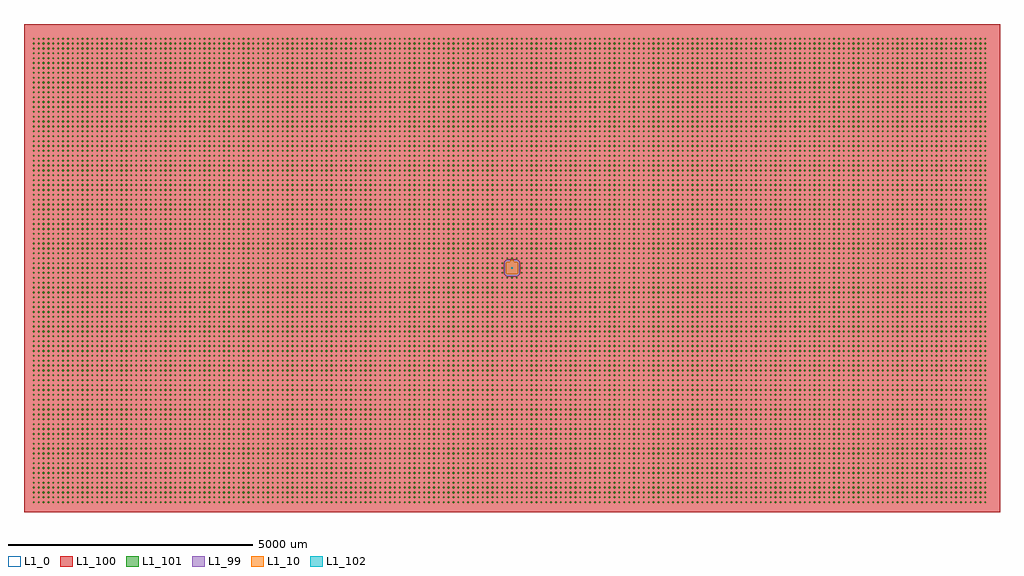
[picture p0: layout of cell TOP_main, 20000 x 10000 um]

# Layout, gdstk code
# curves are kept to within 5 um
import gdstk
lib = gdstk.Library(unit=1e-6, precision=1e-09)
def R(c, l, rs):  # rectangles x0, y0, x1, y1
    for r in rs: c.add(gdstk.rectangle(r[:2], r[2:], *l))
def A(c, l, x, y, w, h, nx, ny, dx, dy):  # array of equal rectangles
    R(c, l, [(x+i*dx, y+j*dy, x+i*dx+w, y+j*dy+h) for i in range(nx) for j in range(ny)])
def P(c, l, *ps):  # polygons
    for p in ps: c.add(gdstk.Polygon(p, *l))
L1_0 = (1, 0)
L1_10 = (1, 10)
L1_99 = (1, 99)
L1_100 = (1, 100)
L1_101 = (1, 101)
L1_102 = (1, 102)

ground_main_1 = lib.new_cell('ground_main_1')
P(ground_main_1, L1_0, [(10000,5000),(-10000,5000),(-10000,-105),(-155,-105),(-154.261,114.386),(-130.267,153.541),(-95,165),(104.386,164.261),(143.541,140.267),(155,105),(154.261,-114.386),(130.267,-153.541),(95,-165),(-104.386,-164.261),(-143.541,-140.267),(-155,-105),(-10000,-105),(-10000,-5000),(10000,-5000)])

top_main_1_one_hole = lib.new_cell('TOP_main_1_one_hole')
P(top_main_1_one_hole, L1_102, [(12.5,-12.5),(12.5,12.5),(-12.5,12.5),(-12.5,-12.5),(12.5,-12.5)])

top_main_1_cheese_diff = lib.new_cell('TOP_main_1_Cheese_diff')
A(top_main_1_cheese_diff, L1_101, -9812.5, -4812.5, 25, 25, 196, 47, 100, 100)
A(top_main_1_cheese_diff, L1_101, -9812.5, -112.5, 25, 25, 97, 3, 100, 100)
A(top_main_1_cheese_diff, L1_101, 187.5, -112.5, 25, 25, 96, 3, 100, 100)
A(top_main_1_cheese_diff, L1_101, -9812.5, 187.5, 25, 25, 196, 46, 100, 100)

top_main_1_cheese_100 = lib.new_cell('TOP_main_1_Cheese_100')
A(top_main_1_cheese_100, L1_100, -9812.5, -5000, 25, 187.5, 195, 1, 100, 0)
A(top_main_1_cheese_100, L1_100, -9787.5, -5000, 75, 10000, 96, 1, 100, 0)
A(top_main_1_cheese_100, L1_100, 212.5, -5000, 75, 10000, 95, 1, 100, 0)
A(top_main_1_cheese_100, L1_100, -9812.5, -4787.5, 25, 75, 195, 46, 100, 100)
A(top_main_1_cheese_100, L1_100, -9812.5, -187.5, 25, 75, 97, 4, 100, 100)
A(top_main_1_cheese_100, L1_100, 187.5, -187.5, 25, 75, 95, 4, 100, 100)
A(top_main_1_cheese_100, L1_100, -9812.5, 212.5, 25, 75, 195, 45, 100, 100)
A(top_main_1_cheese_100, L1_100, -9812.5, 4712.5, 25, 287.5, 195, 1, 100, 0)
R(top_main_1_cheese_100, L1_100, [(-10000,-5000,-9812.5,5000), (-87.5,-5000,-12.5,-165), (12.5,-5000,87.5,-165), (-12.5,-187.5,12.5,-165), (-87.5,165,-12.5,5000), (-12.5,165,12.5,187.5), (12.5,165,87.5,5000)])
P(top_main_1_cheese_100, L1_100, [(-112.5,-5000),(-112.5,-162.313),(-143.541,-140.267),(-155,-105),(-154.261,114.386),(-137.426,147.426),(-112.5,162.313),(-112.5,5000),(-187.5,5000),(-187.5,-5000)],
  [(-87.5,-165),(-95,-165),(-104.386,-164.261),(-112.5,-162.313),(-112.5,-187.5),(-87.5,-187.5)],
  [(-104.386,164.261),(-95,165),(-87.5,165),(-87.5,187.5),(-112.5,187.5),(-112.5,162.313)],
  [(112.5,-162.313),(104.386,-164.261),(95,-165),(87.5,-165),(87.5,-187.5),(112.5,-187.5)],
  [(95,165),(104.386,164.261),(112.5,162.313),(112.5,187.5),(87.5,187.5),(87.5,165)],
  [(113.541,162.063),(143.541,140.267),(154.261,114.386),(155,-105),(143.541,-140.267),(112.5,-162.313),(112.5,-5000),(187.5,-5000),(187.5,5000),(112.5,5000)],
  [(10000,-12.5),(9687.5,-12.5),(9687.5,-87.5),(9712.5,-87.5),(9712.5,-112.5),(9687.5,-112.5),(9687.5,-187.5),(9712.5,-187.5),(9712.5,-212.5),(9687.5,-212.5),(9687.5,-287.5),(9712.5,-287.5),(9712.5,-312.5),(9687.5,-312.5),(9687.5,-387.5),(9712.5,-387.5),(9712.5,-412.5),(9687.5,-412.5),(9687.5,-487.5),(9712.5,-487.5),(9712.5,-512.5),(9687.5,-512.5),(9687.5,-587.5),(9712.5,-587.5),(9712.5,-612.5),(9687.5,-612.5),(9687.5,-687.5),(9712.5,-687.5),(9712.5,-712.5),(9687.5,-712.5),(9687.5,-787.5),(9712.5,-787.5),(9712.5,-812.5),(9687.5,-812.5),(9687.5,-887.5),(9712.5,-887.5),(9712.5,-912.5),(9687.5,-912.5),(9687.5,-987.5),(9712.5,-987.5),(9712.5,-1012.5),(9687.5,-1012.5),(9687.5,-1087.5),(9712.5,-1087.5),(9712.5,-1112.5),(9687.5,-1112.5),(9687.5,-1187.5),(9712.5,-1187.5),(9712.5,-1212.5),(9687.5,-1212.5),(9687.5,-1287.5),(9712.5,-1287.5),(9712.5,-1312.5),(9687.5,-1312.5),(9687.5,-1387.5),(9712.5,-1387.5),(9712.5,-1412.5),(9687.5,-1412.5),(9687.5,-1487.5),(9712.5,-1487.5),(9712.5,-1512.5),(9687.5,-1512.5),(9687.5,-1587.5),(9712.5,-1587.5),(9712.5,-1612.5),(9687.5,-1612.5),(9687.5,-1687.5),(9712.5,-1687.5),(9712.5,-1712.5),(9687.5,-1712.5),(9687.5,-1787.5),(9712.5,-1787.5),(9712.5,-1812.5),(9687.5,-1812.5),(9687.5,-1887.5),(9712.5,-1887.5),(9712.5,-1912.5),(9687.5,-1912.5),(9687.5,-1987.5),(9712.5,-1987.5),(9712.5,-2012.5),(9687.5,-2012.5),(9687.5,-2087.5),(9712.5,-2087.5),(9712.5,-2112.5),(9687.5,-2112.5),(9687.5,-2187.5),(9712.5,-2187.5),(9712.5,-2212.5),(9687.5,-2212.5),(9687.5,-2287.5),(9712.5,-2287.5),(9712.5,-2312.5),(9687.5,-2312.5),(9687.5,-2387.5),(9712.5,-2387.5),(9712.5,-2412.5),(9687.5,-2412.5),(9687.5,-2487.5),(9712.5,-2487.5),(9712.5,-2512.5),(9687.5,-2512.5),(9687.5,-2587.5),(9712.5,-2587.5),(9712.5,-2612.5),(9687.5,-2612.5),(9687.5,-2687.5),(9712.5,-2687.5),(9712.5,-2712.5),(9687.5,-2712.5),(9687.5,-2787.5),(9712.5,-2787.5),(9712.5,-2812.5),(9687.5,-2812.5),(9687.5,-2887.5),(9712.5,-2887.5),(9712.5,-2912.5),(9687.5,-2912.5),(9687.5,-2987.5),(9712.5,-2987.5),(9712.5,-3012.5),(9687.5,-3012.5),(9687.5,-3087.5),(9712.5,-3087.5),(9712.5,-3112.5),(9687.5,-3112.5),(9687.5,-3187.5),(9712.5,-3187.5),(9712.5,-3212.5),(9687.5,-3212.5),(9687.5,-3287.5),(9712.5,-3287.5),(9712.5,-3312.5),(9687.5,-3312.5),(9687.5,-3387.5),(9712.5,-3387.5),(9712.5,-3412.5),(9687.5,-3412.5),(9687.5,-3487.5),(9712.5,-3487.5),(9712.5,-3512.5),(9687.5,-3512.5),(9687.5,-3587.5),(9712.5,-3587.5),(9712.5,-3612.5),(9687.5,-3612.5),(9687.5,-3687.5),(9712.5,-3687.5),(9712.5,-3712.5),(9687.5,-3712.5),(9687.5,-3787.5),(9712.5,-3787.5),(9712.5,-3812.5),(9687.5,-3812.5),(9687.5,-3887.5),(9712.5,-3887.5),(9712.5,-3912.5),(9687.5,-3912.5),(9687.5,-3987.5),(9712.5,-3987.5),(9712.5,-4012.5),(9687.5,-4012.5),(9687.5,-4087.5),(9712.5,-4087.5),(9712.5,-4112.5),(9687.5,-4112.5),(9687.5,-4187.5),(9712.5,-4187.5),(9712.5,-4212.5),(9687.5,-4212.5),(9687.5,-4287.5),(9712.5,-4287.5),(9712.5,-4312.5),(9687.5,-4312.5),(9687.5,-4387.5),(9712.5,-4387.5),(9712.5,-4412.5),(9687.5,-4412.5),(9687.5,-4487.5),(9712.5,-4487.5),(9712.5,-4512.5),(9687.5,-4512.5),(9687.5,-4587.5),(9712.5,-4587.5),(9712.5,-4612.5),(9687.5,-4612.5),(9687.5,-4687.5),(9712.5,-4687.5),(9712.5,-4712.5),(9687.5,-4712.5),(9687.5,-4787.5),(9712.5,-4787.5),(9712.5,-4812.5),(9687.5,-4812.5),(9687.5,-5000),(10000,-5000)],
  [(10000,5000),(9687.5,5000),(9687.5,4712.5),(9712.5,4712.5),(9712.5,4687.5),(9687.5,4687.5),(9687.5,4612.5),(9712.5,4612.5),(9712.5,4587.5),(9687.5,4587.5),(9687.5,4512.5),(9712.5,4512.5),(9712.5,4487.5),(9687.5,4487.5),(9687.5,4412.5),(9712.5,4412.5),(9712.5,4387.5),(9687.5,4387.5),(9687.5,4312.5),(9712.5,4312.5),(9712.5,4287.5),(9687.5,4287.5),(9687.5,4212.5),(9712.5,4212.5),(9712.5,4187.5),(9687.5,4187.5),(9687.5,4112.5),(9712.5,4112.5),(9712.5,4087.5),(9687.5,4087.5),(9687.5,4012.5),(9712.5,4012.5),(9712.5,3987.5),(9687.5,3987.5),(9687.5,3912.5),(9712.5,3912.5),(9712.5,3887.5),(9687.5,3887.5),(9687.5,3812.5),(9712.5,3812.5),(9712.5,3787.5),(9687.5,3787.5),(9687.5,3712.5),(9712.5,3712.5),(9712.5,3687.5),(9687.5,3687.5),(9687.5,3612.5),(9712.5,3612.5),(9712.5,3587.5),(9687.5,3587.5),(9687.5,3512.5),(9712.5,3512.5),(9712.5,3487.5),(9687.5,3487.5),(9687.5,3412.5),(9712.5,3412.5),(9712.5,3387.5),(9687.5,3387.5),(9687.5,3312.5),(9712.5,3312.5),(9712.5,3287.5),(9687.5,3287.5),(9687.5,3212.5),(9712.5,3212.5),(9712.5,3187.5),(9687.5,3187.5),(9687.5,3112.5),(9712.5,3112.5),(9712.5,3087.5),(9687.5,3087.5),(9687.5,3012.5),(9712.5,3012.5),(9712.5,2987.5),(9687.5,2987.5),(9687.5,2912.5),(9712.5,2912.5),(9712.5,2887.5),(9687.5,2887.5),(9687.5,2812.5),(9712.5,2812.5),(9712.5,2787.5),(9687.5,2787.5),(9687.5,2712.5),(9712.5,2712.5),(9712.5,2687.5),(9687.5,2687.5),(9687.5,2612.5),(9712.5,2612.5),(9712.5,2587.5),(9687.5,2587.5),(9687.5,2512.5),(9712.5,2512.5),(9712.5,2487.5),(9687.5,2487.5),(9687.5,2412.5),(9712.5,2412.5),(9712.5,2387.5),(9687.5,2387.5),(9687.5,2312.5),(9712.5,2312.5),(9712.5,2287.5),(9687.5,2287.5),(9687.5,2212.5),(9712.5,2212.5),(9712.5,2187.5),(9687.5,2187.5),(9687.5,2112.5),(9712.5,2112.5),(9712.5,2087.5),(9687.5,2087.5),(9687.5,2012.5),(9712.5,2012.5),(9712.5,1987.5),(9687.5,1987.5),(9687.5,1912.5),(9712.5,1912.5),(9712.5,1887.5),(9687.5,1887.5),(9687.5,1812.5),(9712.5,1812.5),(9712.5,1787.5),(9687.5,1787.5),(9687.5,1712.5),(9712.5,1712.5),(9712.5,1687.5),(9687.5,1687.5),(9687.5,1612.5),(9712.5,1612.5),(9712.5,1587.5),(9687.5,1587.5),(9687.5,1512.5),(9712.5,1512.5),(9712.5,1487.5),(9687.5,1487.5),(9687.5,1412.5),(9712.5,1412.5),(9712.5,1387.5),(9687.5,1387.5),(9687.5,1312.5),(9712.5,1312.5),(9712.5,1287.5),(9687.5,1287.5),(9687.5,1212.5),(9712.5,1212.5),(9712.5,1187.5),(9687.5,1187.5),(9687.5,1112.5),(9712.5,1112.5),(9712.5,1087.5),(9687.5,1087.5),(9687.5,1012.5),(9712.5,1012.5),(9712.5,987.5),(9687.5,987.5),(9687.5,912.5),(9712.5,912.5),(9712.5,887.5),(9687.5,887.5),(9687.5,812.5),(9712.5,812.5),(9712.5,787.5),(9687.5,787.5),(9687.5,712.5),(9712.5,712.5),(9712.5,687.5),(9687.5,687.5),(9687.5,612.5),(9712.5,612.5),(9712.5,587.5),(9687.5,587.5),(9687.5,512.5),(9712.5,512.5),(9712.5,487.5),(9687.5,487.5),(9687.5,412.5),(9712.5,412.5),(9712.5,387.5),(9687.5,387.5),(9687.5,312.5),(9712.5,312.5),(9712.5,287.5),(9687.5,287.5),(9687.5,212.5),(9712.5,212.5),(9712.5,187.5),(9687.5,187.5),(9687.5,112.5),(9712.5,112.5),(9712.5,87.5),(9687.5,87.5),(9687.5,12.5),(9712.5,12.5),(9712.5,-12.5),(10000,-12.5)])

top_main_1 = lib.new_cell('TOP_main_1')
P(top_main_1, L1_10, [(125,95),(119.271,112.634),(99.693,124.631),(-95,125),(-116.213,116.213),(-125,95),(-125,-95),(-116.213,-116.213),(-95,-125),(95,-125),(116.213,-116.213),(125,-95)],
  [(40,153),(38,155),(-38.313,154.975),(-39.975,153.313),(-39.975,141.687),(-38,140),(38.313,140.025),(39.975,141.687)],
  [(6.2,157),(6.786,155.586),(8.2,155),(-8.2,155),(-6.225,156.687),(-6.2,165),(6.2,165)])
top_main_1.add(gdstk.Reference(ground_main_1, (0,0)))
top_main_1.add(gdstk.Reference(top_main_1_one_hole, (0,0)))
top_main_1.add(gdstk.Reference(top_main_1_cheese_diff, (0,0)))
top_main_1.add(gdstk.Reference(top_main_1_cheese_100, (0,0)))

top_main_1_nocheese_99 = lib.new_cell('TOP_main_1_NoCheese_99')
P(top_main_1_nocheese_99, L1_99, [(95,165),(130.267,153.541),(154.261,114.386),(155,-105),(143.541,-140.267),(122.239,-158.46),(95,-165),(-95,-165),(-130.267,-153.541),(-148.46,-132.239),(-155,-105),(-155,105),(-143.541,140.267),(-104.386,164.261)])

top_main = lib.new_cell('TOP_main')
top_main.add(gdstk.Reference(top_main_1, (0,0)))
top_main.add(gdstk.Reference(top_main_1_nocheese_99, (0,0)))

lib.write_gds('TOP_main.gds')
